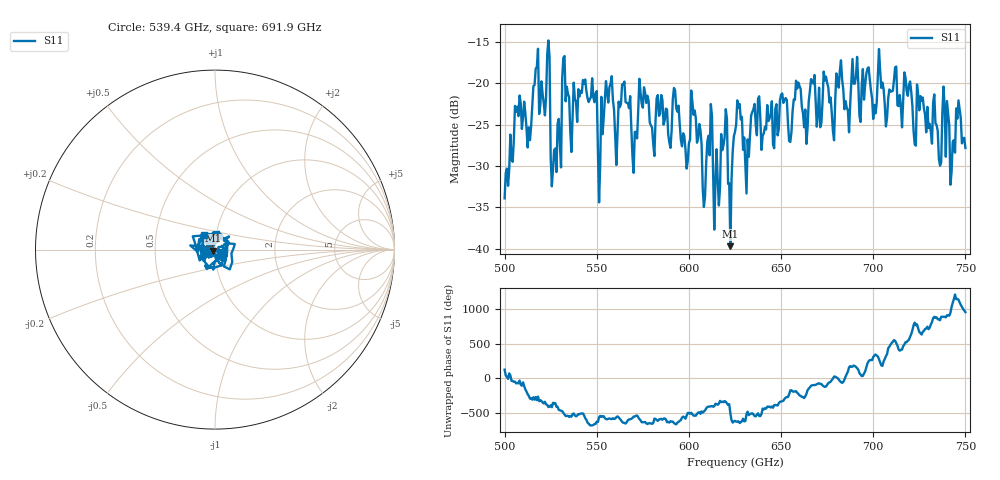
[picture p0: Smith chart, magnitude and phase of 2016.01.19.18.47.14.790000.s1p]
!Created with skrf (http://scikit-rf.org).
# GHz S RI R 50.0
!freq ReS11 ImS11
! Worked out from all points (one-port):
!   401 points, 500 GHz to 750 GHz, reference 50 ohm
!   lowest |S11| = -39.7 dB at 622.5 GHz (marker M1), VSWR 1.02, Z = 49.2 - j0.58 ohm
!   |S11| at or under -10 dB: start of sweep to end of sweep
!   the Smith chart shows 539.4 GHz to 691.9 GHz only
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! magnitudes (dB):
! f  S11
! 500 GHz  -33.9
! 506.9 GHz  -22.8
! 513.1 GHz  -25.3
! 516.9 GHz  -18.2
! 523.1 GHz  -16.5
! 526.9 GHz  -28.1
! 531.2 GHz  -19.3
! 548.8 GHz  -22.3
! 551.9 GHz  -29.7
! 556.2 GHz  -22.3
! 562.5 GHz  -22.9
! 570.6 GHz  -25.9
! 574.4 GHz  -22.5
! 580 GHz  -25.4
! 593.8 GHz  -23.4
! 599.4 GHz  -29.4
! 602.5 GHz  -23.8
! 608.1 GHz  -35.0
! 611.2 GHz  -28.7
! 615 GHz  -28.0
! 619.4 GHz  -26.5
! 622.5 GHz  -39.7
! 625 GHz  -25.9
! 631.2 GHz  -33.3
! 656.2 GHz  -23.4
! 687.5 GHz  -22.5
! 718.8 GHz  -21.5
! 750 GHz  -27.8
